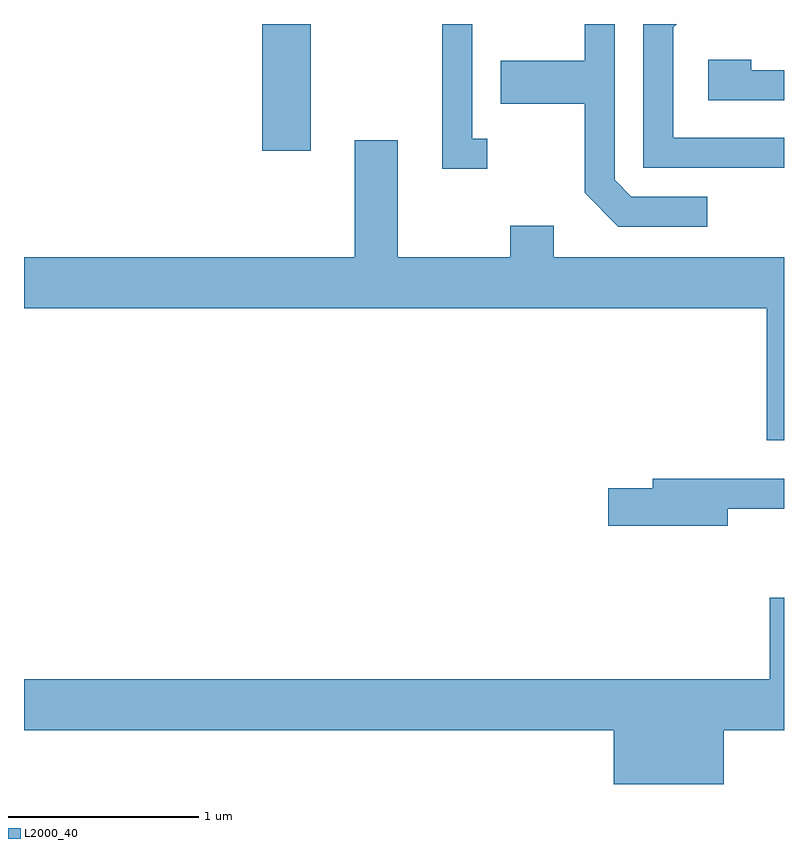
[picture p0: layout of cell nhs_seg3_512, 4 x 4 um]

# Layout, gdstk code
import gdstk
lib = gdstk.Library(unit=1e-6, precision=1e-09)
def R(c, l, rs):  # rectangles x0, y0, x1, y1
    for r in rs: c.add(gdstk.rectangle(r[:2], r[2:], *l))
def P(c, l, *ps):  # polygons
    for p in ps: c.add(gdstk.Polygon(p, *l))
L2000_40 = (2000, 40)

nhs_seg3_512 = lib.new_cell('nhs_seg3_512')
R(nhs_seg3_512, L2000_40, [(200.866,1191.226,201.119,1191.892)])
P(nhs_seg3_512, L2000_40, [(203.208,1190.984),(202.807,1190.984),(202.719,1191.072),(202.719,1191.892),(202.561,1191.892),(202.561,1191.699),(202.121,1191.699),(202.121,1191.471),(202.561,1191.471),(202.561,1191.004),(202.739,1190.826),(203.208,1190.826)],
  [(203.611,1191.294),(203.029,1191.294),(203.029,1191.874),(203.047,1191.892),(202.871,1191.892),(202.871,1191.136),(203.611,1191.136)],
  [(202.048,1191.289),(201.969,1191.289),(201.969,1191.892),(201.811,1191.892),(201.811,1191.131),(202.048,1191.131)],
  [(203.611,1191.649),(203.439,1191.649),(203.439,1191.704),(203.211,1191.704),(203.211,1191.491),(203.611,1191.491)],
  [(203.611,1190.664),(202.399,1190.664),(202.399,1190.829),(202.171,1190.829),(202.171,1190.664),(201.579,1190.664),(201.579,1191.279),(201.351,1191.279),(201.351,1190.664),(199.611,1190.664),(199.611,1190.396),(203.521,1190.396),(203.521,1189.701),(203.611,1189.701)],
  [(203.314,1189.341),(203.611,1189.341),(203.611,1189.499),(202.921,1189.499),(202.921,1189.449),(202.686,1189.449),(202.686,1189.251),(203.314,1189.251)],
  [(203.294,1188.176),(203.611,1188.176),(203.611,1188.873),(203.536,1188.873),(203.536,1188.444),(199.611,1188.444),(199.611,1188.176),(202.716,1188.176),(202.716,1187.892),(203.294,1187.892)])

lib.write_gds('nhs_seg3_512.gds')
